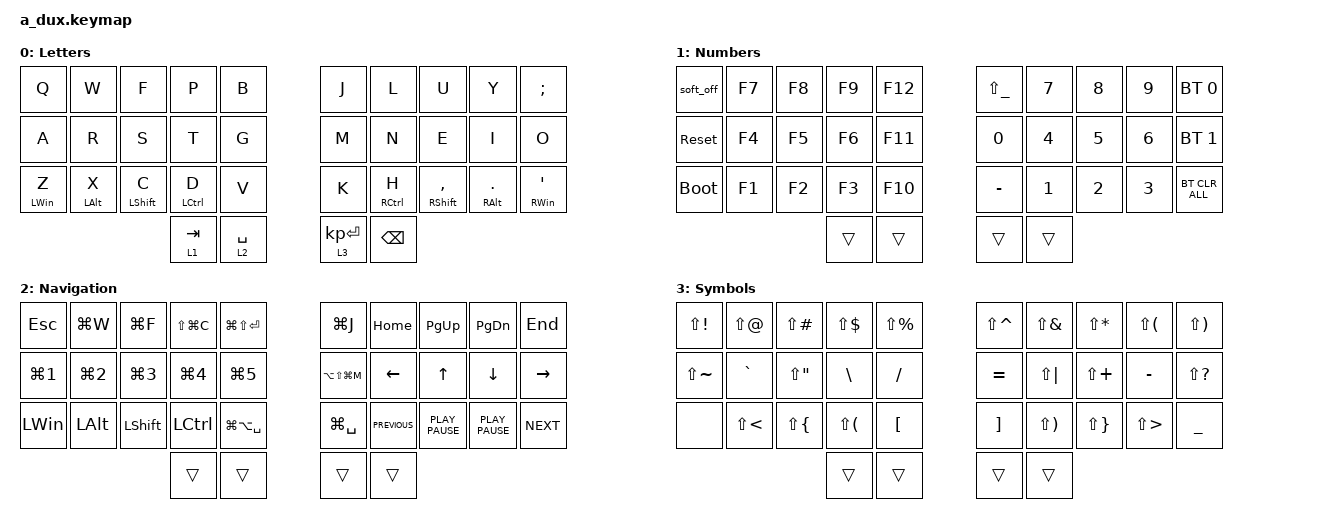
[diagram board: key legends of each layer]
/*
 * Copyright (c) 2021 The ZMK Contributors
 *
 * SPDX-License-Identifier: MIT
 */

#include <behaviors.dtsi>
#include <dt-bindings/zmk/bt.h>
#include <dt-bindings/zmk/keys.h>

&mt {
    tapping-term-ms = <200>;
    flavor = "tap-preferred";
};

/ {
    keymap {
        compatible = "zmk,keymap";

        // This is a sample keymap intended to be replaced with your own

        Letters {
            bindings = <
&kp Q       &kp W           &kp F             &kp P               &kp B                                     &kp J          &kp L                &kp U                  &kp Y              &kp SEMI
&kp A       &kp R           &kp S             &kp T               &kp G                                     &kp M          &kp N                &kp E                  &kp I              &kp O
&mt LWIN Z  &mt LEFT_ALT X  &mt LEFT_SHIFT C  &mt LEFT_CONTROL D  &kp V                                     &kp K          &mt RIGHT_CONTROL H  &mt RIGHT_SHIFT COMMA  &mt RIGHT_ALT DOT  &mt RWIN SINGLE_QUOTE
                                                                  &lt 1 TAB  &lt 2 SPACE    &lt 3 KP_ENTER  &kp BACKSPACE
            >;
        };

        Numbers {
            bindings = <
&soft_off    &kp F7  &kp F8  &kp F9  &kp F12                    &kp LS(UNDER)  &kp N7  &kp N8  &kp N9  &bt BT_SEL 0
&sys_reset   &kp F4  &kp F5  &kp F6  &kp F11                    &kp N0         &kp N4  &kp N5  &kp N6  &bt BT_SEL 1
&bootloader  &kp F1  &kp F2  &kp F3  &kp F10                    &kp MINUS      &kp N1  &kp N2  &kp N3  &bt BT_CLR_ALL
                                     &trans   &trans    &trans  &trans
            >;
        };

        Navigation {
            bindings = <
&kp ESCAPE        &kp LG(W)         &kp LG(F)         &kp LS(LG(C))     &kp LG(LS(RETURN))                    &kp LG(J)          &kp HOME        &kp PG_UP         &kp PG_DN         &kp END
&kp LG(NUMBER_1)  &kp LG(NUMBER_2)  &kp LG(NUMBER_3)  &kp LG(NUMBER_4)  &kp LG(NUMBER_5)                      &kp LA(LS(LG(M)))  &kp LEFT        &kp UP            &kp DOWN          &kp RIGHT
&kp LWIN          &kp LEFT_ALT      &kp LEFT_SHIFT    &kp LEFT_CONTROL  &kp LG(LA(SPACE))                     &kp LG(SPACE)      &kp K_PREVIOUS  &kp K_PLAY_PAUSE  &kp K_PLAY_PAUSE  &kp K_NEXT
                                                                        &trans              &trans    &trans  &trans
            >;
        };

        Symbols {
            bindings = <
&kp LS(EXCL)   &kp LS(AT)  &kp LS(POUND)  &kp LS(DLLR)  &kp LS(PRCNT)                    &kp LS(CARET)  &kp LS(AMPS)  &kp LS(STAR)  &kp LS(LPAR)  &kp LS(RPAR)
&kp LS(TILDE)  &kp GRAVE   &kp LS(DQT)    &kp BSLH      &kp FSLH                         &kp EQUAL      &kp LS(PIPE)  &kp LS(PLUS)  &kp MINUS     &kp LS(QMARK)
&none          &kp LS(LT)  &kp LS(LBRC)   &kp LS(LPAR)  &kp LBKT                         &kp RBKT       &kp LS(RPAR)  &kp LS(RBRC)  &kp LS(GT)    &kp UNDERSCORE
                                                        &trans         &trans    &trans  &trans
            >;
        };
    };
};
